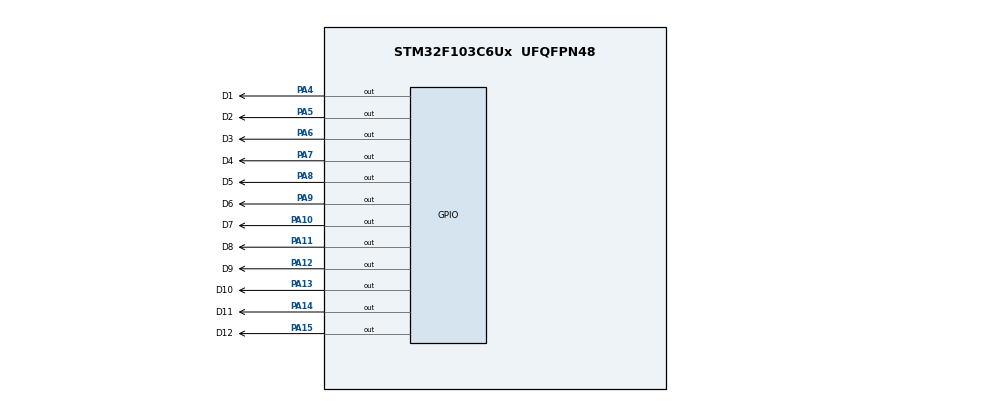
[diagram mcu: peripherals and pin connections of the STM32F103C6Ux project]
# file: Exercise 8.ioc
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Mcu.Family=STM32F1
Mcu.Name=STM32F103C6Ux
Mcu.Package=UFQFPN48
NVIC.PriorityGroup=NVIC_PRIORITYGROUP_4
PA10.GPIO_Label=D7
PA10.Signal=GPIO_Output
PA11.GPIO_Label=D8
PA11.Signal=GPIO_Output
PA12.GPIO_Label=D9
PA12.Signal=GPIO_Output
PA13.GPIO_Label=D10
PA13.Signal=GPIO_Output
PA14.GPIO_Label=D11
PA14.Signal=GPIO_Output
PA15.GPIO_Label=D12
PA15.Signal=GPIO_Output
PA4.GPIO_Label=D1
PA4.Signal=GPIO_Output
PA5.GPIO_Label=D2
PA5.Signal=GPIO_Output
PA6.GPIO_Label=D3
PA6.Signal=GPIO_Output
PA7.GPIO_Label=D4
PA7.Signal=GPIO_Output
PA8.GPIO_Label=D5
PA8.Signal=GPIO_Output
PA9.GPIO_Label=D6
PA9.Signal=GPIO_Output
ProjectManager.HeapSize=0x200
ProjectManager.StackSize=0x400
ProjectManager.TargetToolchain=STM32CubeIDE
RCC.APB1Freq_Value=8000000
RCC.APB2Freq_Value=8000000
VP_SYS_VS_ND.Mode=No_Debug
board=custom

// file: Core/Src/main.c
/* USER CODE BEGIN Header */
/**
  ******************************************************************************
  * @file           : main.c
  * @brief          : Main program body
  ******************************************************************************
  * @attention
  *
  * <h2><center>&copy; Copyright (c) 2022 STMicroelectronics.
  * All rights reserved.</center></h2>
  *
  * This software component is licensed by ST under BSD 3-Clause license,
  * the "License"; You may not use this file except in compliance with the
  * License. You may obtain a copy of the License at:
  *                        opensource.org/licenses/BSD-3-Clause
  *
  ******************************************************************************
  */
/* USER CODE END Header */
#include "main.h"

void SystemClock_Config(void);
static void MX_GPIO_Init(void);

/* USER CODE BEGIN 0 */
void clearAllClock ()
{
	HAL_GPIO_WritePin(GPIOA, D1_Pin|D2_Pin|D3_Pin|D4_Pin|D5_Pin|D6_Pin|D7_Pin|D8_Pin|D9_Pin|D10_Pin|D11_Pin|D12_Pin, RESET);
}

void setNumberOnClock(int num)
{
	switch (num)
		  {
		  case 0: HAL_GPIO_WritePin(D1_GPIO_Port, D1_Pin, SET); break;
		  case 1: HAL_GPIO_WritePin(D2_GPIO_Port, D2_Pin, SET); break;
		  case 2: HAL_GPIO_WritePin(D3_GPIO_Port, D3_Pin, SET); break;
		  case 3: HAL_GPIO_WritePin(D4_GPIO_Port, D4_Pin, SET); break;
		  case 4: HAL_GPIO_WritePin(D5_GPIO_Port, D5_Pin, SET); break;
		  case 5: HAL_GPIO_WritePin(D6_GPIO_Port, D6_Pin, SET); break;
		  case 6: HAL_GPIO_WritePin(D7_GPIO_Port, D7_Pin, SET); break;
		  case 7: HAL_GPIO_WritePin(D8_GPIO_Port, D8_Pin, SET); break;
		  case 8: HAL_GPIO_WritePin(D9_GPIO_Port, D9_Pin, SET); break;
		  case 9: HAL_GPIO_WritePin(D10_GPIO_Port, D10_Pin, SET); break;
		  case 10: HAL_GPIO_WritePin(D11_GPIO_Port, D11_Pin, SET); break;
		  case 11: HAL_GPIO_WritePin(D12_GPIO_Port, D12_Pin, SET); break;
		  default: break;
		  }
}

/* USER CODE END 0 */

int main(void)
{

  /* MCU Configuration--------------------------------------------------------*/

  /* Reset of all peripherals, Initializes the Flash interface and the Systick. */
  HAL_Init();

  /* Configure the system clock */
  SystemClock_Config();

  /* Initialize all configured peripherals */
  MX_GPIO_Init();

  /* Infinite loop */
  /* USER CODE BEGIN WHILE */
  int num = 0;
  while (1)
  {
	   // All led turn off when start
		HAL_GPIO_WritePin(GPIOA, D1_Pin|D2_Pin|D3_Pin|D4_Pin|D5_Pin|D6_Pin|D7_Pin|D8_Pin|D9_Pin|D10_Pin|D11_Pin|D12_Pin, GPIO_PIN_RESET);

		// Turn off all led when num = 12
		if (num >= 12)
		{
			HAL_GPIO_WritePin(GPIOA, D1_Pin|D2_Pin|D3_Pin|D4_Pin|D5_Pin|D6_Pin|D7_Pin|D8_Pin|D9_Pin|D10_Pin|D11_Pin|D12_Pin, GPIO_PIN_RESET);
			num = 0;
		}
		setNumberOnClock(num++);
		HAL_Delay(500);

    /* USER CODE END WHILE */

  }
}

void SystemClock_Config(void)
{
  RCC_OscInitTypeDef RCC_OscInitStruct = {0};
  RCC_ClkInitTypeDef RCC_ClkInitStruct = {0};

  /** Initializes the RCC Oscillators according to the specified parameters
  * in the RCC_OscInitTypeDef structure.
  */
  RCC_OscInitStruct.OscillatorType = RCC_OSCILLATORTYPE_HSI;
  RCC_OscInitStruct.HSIState = RCC_HSI_ON;
  RCC_OscInitStruct.HSICalibrationValue = RCC_HSICALIBRATION_DEFAULT;
  RCC_OscInitStruct.PLL.PLLState = RCC_PLL_NONE;
  if (HAL_RCC_OscConfig(&RCC_OscInitStruct) != HAL_OK)
  {
    Error_Handler();
  }
  /** Initializes the CPU, AHB and APB buses clocks
  */
  RCC_ClkInitStruct.ClockType = RCC_CLOCKTYPE_HCLK|RCC_CLOCKTYPE_SYSCLK
                              |RCC_CLOCKTYPE_PCLK1|RCC_CLOCKTYPE_PCLK2;
  RCC_ClkInitStruct.SYSCLKSource = RCC_SYSCLKSOURCE_HSI;
  RCC_ClkInitStruct.AHBCLKDivider = RCC_SYSCLK_DIV1;
  RCC_ClkInitStruct.APB1CLKDivider = RCC_HCLK_DIV1;
  RCC_ClkInitStruct.APB2CLKDivider = RCC_HCLK_DIV1;

  if (HAL_RCC_ClockConfig(&RCC_ClkInitStruct, FLASH_LATENCY_0) != HAL_OK)
  {
    Error_Handler();
  }
}

static void MX_GPIO_Init(void)
{
  GPIO_InitTypeDef GPIO_InitStruct = {0};

  /* GPIO Ports Clock Enable */
  __HAL_RCC_GPIOA_CLK_ENABLE();

  /*Configure GPIO pin Output Level */
  HAL_GPIO_WritePin(GPIOA, D1_Pin|D2_Pin|D3_Pin|D4_Pin
                          |D5_Pin|D6_Pin|D7_Pin|D8_Pin
                          |D9_Pin|D10_Pin|D11_Pin|D12_Pin, GPIO_PIN_RESET);

  /*Configure GPIO pins : D1_Pin D2_Pin D3_Pin D4_Pin
                           D5_Pin D6_Pin D7_Pin D8_Pin
                           D9_Pin D10_Pin D11_Pin D12_Pin */
  GPIO_InitStruct.Pin = D1_Pin|D2_Pin|D3_Pin|D4_Pin
                          |D5_Pin|D6_Pin|D7_Pin|D8_Pin
                          |D9_Pin|D10_Pin|D11_Pin|D12_Pin;
  GPIO_InitStruct.Mode = GPIO_MODE_OUTPUT_PP;
  GPIO_InitStruct.Pull = GPIO_NOPULL;
  GPIO_InitStruct.Speed = GPIO_SPEED_FREQ_LOW;
  HAL_GPIO_Init(GPIOA, &GPIO_InitStruct);

}

void Error_Handler(void)
{
  __disable_irq();
  while (1)
  {
  }
}

/************************ (C) COPYRIGHT STMicroelectronics *****END OF FILE****/
